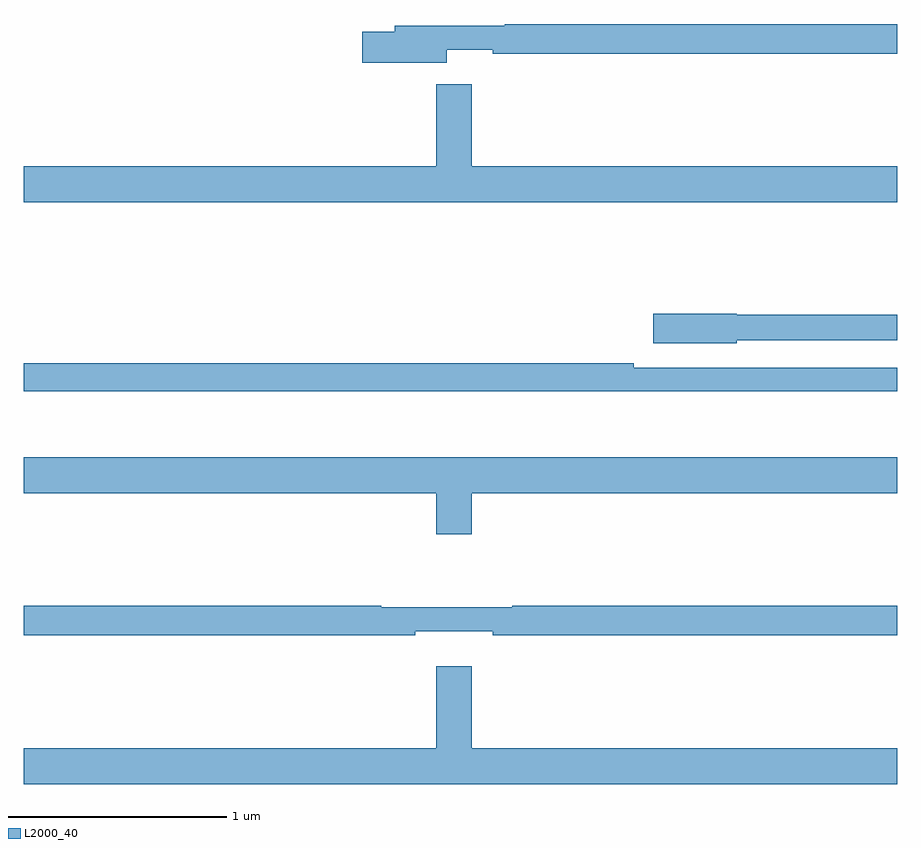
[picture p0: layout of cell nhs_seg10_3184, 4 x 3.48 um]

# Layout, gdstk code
import gdstk
lib = gdstk.Library(unit=1e-6, precision=1e-09)
def P(c, l, *ps):  # polygons
    for p in ps: c.add(gdstk.Polygon(p, *l))
L2000_40 = (2000, 40)

nhs_seg10_3184 = lib.new_cell('nhs_seg10_3184')
P(nhs_seg10_3184, L2000_40, [(284.938,1314.335),(285.148,1314.335),(285.148,1314.316),(287,1314.316),(287,1314.452),(285.203,1314.452),(285.203,1314.445),(284.699,1314.445),(284.699,1314.416),(284.55,1314.416),(284.55,1314.274),(284.938,1314.274)],
  [(287,1313.8),(285.052,1313.8),(285.052,1314.175),(284.888,1314.175),(284.888,1313.8),(283,1313.8),(283,1313.636),(287,1313.636)],
  [(286.266,1313.004),(287,1313.004),(287,1313.12),(286.266,1313.12),(286.266,1313.126),(285.882,1313.126),(285.882,1312.991),(286.266,1312.991)],
  [(287,1312.878),(285.794,1312.878),(285.794,1312.898),(283,1312.898),(283,1312.77),(287,1312.77)],
  [(285.052,1312.304),(287,1312.304),(287,1312.468),(283,1312.468),(283,1312.304),(284.888,1312.304),(284.888,1312.116),(285.052,1312.116)],
  [(284.792,1311.671),(285.148,1311.671),(285.148,1311.652),(287,1311.652),(287,1311.788),(285.238,1311.788),(285.238,1311.781),(284.638,1311.781),(284.638,1311.788),(283,1311.788),(283,1311.652),(284.792,1311.652)],
  [(287,1311.136),(285.052,1311.136),(285.052,1311.511),(284.888,1311.511),(284.888,1311.136),(283,1311.136),(283,1310.972),(287,1310.972)])

lib.write_gds('nhs_seg10_3184.gds')
